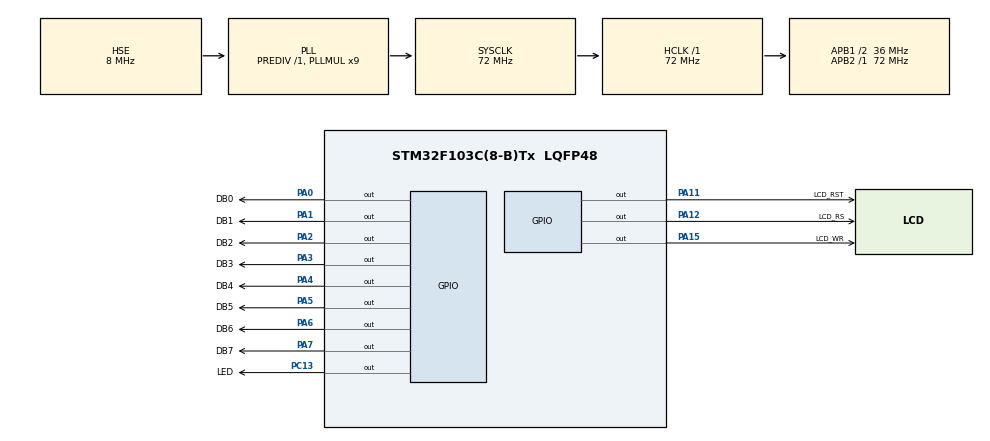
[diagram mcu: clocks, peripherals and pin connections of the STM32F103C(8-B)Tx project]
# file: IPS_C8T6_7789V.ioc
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Mcu.Family=STM32F1
Mcu.Name=STM32F103C(8-B)Tx
Mcu.Package=LQFP48
NVIC.PriorityGroup=NVIC_PRIORITYGROUP_4
PA0-WKUP.GPIO_Label=DB0
PA0-WKUP.GPIO_Speed=GPIO_SPEED_FREQ_HIGH
PA0-WKUP.Signal=GPIO_Output
PA1.GPIO_Label=DB1
PA1.GPIO_Speed=GPIO_SPEED_FREQ_HIGH
PA1.Signal=GPIO_Output
PA11.GPIO_Label=LCD_RST
PA11.GPIO_Speed=GPIO_SPEED_FREQ_HIGH
PA11.PinState=GPIO_PIN_RESET
PA11.Signal=GPIO_Output
PA12.GPIO_Label=LCD_RS
PA12.GPIO_Speed=GPIO_SPEED_FREQ_HIGH
PA12.Signal=GPIO_Output
PA13.Mode=Serial_Wire
PA13.Signal=SYS_JTMS-SWDIO
PA14.Mode=Serial_Wire
PA14.Signal=SYS_JTCK-SWCLK
PA15.GPIO_Label=LCD_WR
PA15.GPIO_Speed=GPIO_SPEED_FREQ_HIGH
PA15.Signal=GPIO_Output
PA2.GPIO_Label=DB2
PA2.GPIO_Speed=GPIO_SPEED_FREQ_HIGH
PA2.Signal=GPIO_Output
PA3.GPIO_Label=DB3
PA3.GPIO_Speed=GPIO_SPEED_FREQ_HIGH
PA3.Signal=GPIO_Output
PA4.GPIO_Label=DB4
PA4.GPIO_Speed=GPIO_SPEED_FREQ_HIGH
PA4.Signal=GPIO_Output
PA5.GPIO_Label=DB5
PA5.GPIO_Speed=GPIO_SPEED_FREQ_HIGH
PA5.Signal=GPIO_Output
PA6.GPIO_Label=DB6
PA6.GPIO_Speed=GPIO_SPEED_FREQ_HIGH
PA6.Signal=GPIO_Output
PA7.GPIO_Label=DB7
PA7.GPIO_Speed=GPIO_SPEED_FREQ_HIGH
PA7.Signal=GPIO_Output
PC13-TAMPER-RTC.GPIO_Label=LED
PC13-TAMPER-RTC.GPIO_Speed=GPIO_SPEED_FREQ_HIGH
PC13-TAMPER-RTC.Signal=GPIO_Output
PC14-OSC32_IN.Mode=LSE-External-Oscillator
PC14-OSC32_IN.Signal=RCC_OSC32_IN
PC15-OSC32_OUT.Mode=LSE-External-Oscillator
PC15-OSC32_OUT.Signal=RCC_OSC32_OUT
PD0-OSC_IN.Mode=HSE-External-Oscillator
PD0-OSC_IN.Signal=RCC_OSC_IN
PD1-OSC_OUT.Mode=HSE-External-Oscillator
PD1-OSC_OUT.Signal=RCC_OSC_OUT
ProjectManager.HeapSize=0x200
ProjectManager.StackSize=0x400
ProjectManager.TargetToolchain=SW4STM32
RCC.AHBFreq_Value=72000000
RCC.APB1CLKDivider=RCC_HCLK_DIV2
RCC.APB1Freq_Value=36000000
RCC.APB1TimFreq_Value=72000000
RCC.APB2Freq_Value=72000000
RCC.APB2TimFreq_Value=72000000
RCC.HCLKFreq_Value=72000000
RCC.PLLMUL=RCC_PLL_MUL9
RCC.PLLSourceVirtual=RCC_PLLSOURCE_HSE
RCC.SYSCLKFreq_VALUE=72000000
RCC.SYSCLKSource=RCC_SYSCLKSOURCE_PLLCLK
RCC.USBFreq_Value=72000000
board=custom

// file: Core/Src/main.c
/* USER CODE BEGIN Header */
/**
  ******************************************************************************
  * @file           : main.c
  * @brief          : Main program body
  ******************************************************************************
  * @attention
  *
  * Copyright (c) 2022 STMicroelectronics.
  * All rights reserved.
  *
  * This software is licensed under terms that can be found in the LICENSE file
  * in the root directory of this software component.
  * If no LICENSE file comes with this software, it is provided AS-IS.
  *
  ******************************************************************************
  */
/* USER CODE END Header */
#include "main.h"
#include "gpio.h"

/* USER CODE BEGIN Includes */
#include "LCD.h"
#include "ugui.h"
#include "IMG0.h"
#include "image.h"
/* USER CODE END Includes */

/* USER CODE BEGIN PV */
uint8_t MX_TRUE = 1;
/* USER CODE END PV */

void SystemClock_Config(void);

/* USER CODE BEGIN 0 */
UG_GUI gui;

#define MAX_OBJECTS        10
UG_WINDOW window_1;
UG_OBJECT obj_buff_wnd_1[MAX_OBJECTS];
UG_BUTTON button1_1;

//由于像素值不能为浮点数，因此以下算法假设仅将整数坐标作为输入。因此去除了首尾点的特殊操作
#define ipart_(X) ((int)(X))
#define round_(X) ((int)(((float)(X))+0.5f))
#define fpart_(X) (((float)(X))-(float)ipart_(X))
#define rfpart_(X) (1.0-fpart_(X))
#define swap_(a,b)    (a=(a)+(b),b=(a)-(b),a=(a)-(b))

/**
 * @brief 绘制虚拟带透明度像素点
 * @param x
 * @param y
 * @param brightness 0-1.0
 */
void setPixelAlpha(int x, int y, float brightness)
{
    uint32_t alpha_color =  GetAlphaColorRGB888(0x00ffffff,0x00000000,(uint8_t)(brightness*0xff));
    LCD_DrawPixel(x,y,RGB888ToRGB565(alpha_color));
}

int abs(int x )
{
    if (x < 0) return -x;
    else return x;
}

/**
 * @brief 绘制1宽度抗锯齿直线
 * @param x0
 * @param y0
 * @param x1
 * @param y1
 */
void lineAnti_Wu(int x0, int y0, int x1, int y1)
{
    int steep = abs(y1 - y0) > abs(x1 - x0);

    // swap the co-ordinates if slope > 1 or we
    // draw backwards
    if (steep)
    {
        swap_(x0, y0);
        swap_(x1, y1);
    }
    if (x0 > x1)
    {
        swap_(x0, x1);
        swap_(y0, y1);
    }

    //compute the slope
    float dx = x1 - x0;
    float dy = y1 - y0;
    float gradient = dy / dx;
    if (dx == 0.0)
        gradient = 1;

    int xpxl1 = x0;
    int xpxl2 = x1;
    float intersectY = y0;
    int  x;

    // main loop
    if (steep)
    {
        for (x = xpxl1; x <= xpxl2; x++)
        {
            setPixelAlpha(ipart_(intersectY), x, rfpart_(intersectY));
            setPixelAlpha(ipart_(intersectY) + 1, x,fpart_(intersectY));
            intersectY += gradient;
        }
    }
    else
    {
        for (x = xpxl1; x <= xpxl2; x++)
        {
            setPixelAlpha(x, ipart_(intersectY),rfpart_(intersectY));
            setPixelAlpha(x, ipart_(intersectY)+1,fpart_(intersectY));
            intersectY += gradient;
        }
    }
}

/**
 * @brief 绘制任意宽度抗锯齿直线
 * @param x0
 * @param y0
 * @param x1
 * @param y1
 * @param r
 */
void lineAnti_WuMulti(int x0, int y0, int x1, int y1, int r)
{
    int steep = abs(y1 - y0) > abs(x1 - x0);

    // swap the co-ordinates if slope > 1 or we
    // draw backwards
    if (steep)
    {
        swap_(x0, y0);
        swap_(x1, y1);
    }
    if (x0 > x1)
    {
        swap_(x0, x1);
        swap_(y0, y1);
    }

    //compute the slope
    float dx = x1 - x0;
    float dy = y1 - y0;
    float gradient = dy / dx;
    if (dx == 0.0)
        gradient = 1;

    int xpxl1 = x0;
    int xpxl2 = x1;
    float intersectY = y0;

    int i, x;

    // main loop
    if (steep)
    {
        for (x = xpxl1; x <= xpxl2; x++)
        {
            // pixel coverage is determined by fractional
            // part of y co-ordinate
            setPixelAlpha(ipart_(intersectY), x, rfpart_(intersectY));
            for (i = 1; i < r; i++)
            {
                LCD_DrawPixel(ipart_(intersectY) + i, x,0x0000);
            }
            setPixelAlpha(ipart_(intersectY) + r, x, fpart_(intersectY));
            intersectY += gradient;
        }
    }
    else
    {
        for (x = xpxl1; x <= xpxl2; x++)
        {
            setPixelAlpha(x, ipart_(intersectY), rfpart_(intersectY));
            for (i = 1; i < r; i++)
            {
                LCD_DrawPixel(x, ipart_(intersectY) + i,0x0000);
            }
            setPixelAlpha(x, ipart_(intersectY) + r, fpart_(intersectY));
            intersectY += gradient;
        }
    }
}

/**
 * @brief 添加画点驱动
 * @param x
 * @param y
 * @param c
 */
void Driver_DrawPixel(UG_S16 x, UG_S16 y, UG_COLOR c) {
    LCD_DrawPixel(x, y, c);
}
/**
 * @brief 添加画线驱动
 * @param x1
 * @param y1
 * @param x2
 * @param y2
 * @param c
 * @return
 */
UG_RESULT Driver_DrawLine(UG_S16 x1, UG_S16 y1, UG_S16 x2, UG_S16 y2, UG_COLOR c) {
    if (y1 == y2) {
        LCD_DrawLineVH(x1, y1, 1, x2 - x1 + 1, c);
    } else if (x1 == x2) {
        LCD_DrawLineVH(x1, y1, 0, y2 - y1 + 1, c);
    } else {
        return UG_RESULT_FAIL;
    }
    return UG_RESULT_OK;
}

/**
 * @brief 绘制矩形面积
 * @param x1
 * @param y1
 * @param x2
 * @param y2
 * @param c
 * @return
 */
UG_RESULT Driver_FillFrame(UG_S16 x1, UG_S16 y1, UG_S16 x2, UG_S16 y2, UG_COLOR c) {
    LCD_Address_Set(x1, y1, x2, y2);
    for (int y = y1; y <= y2; ++y) {
        for (int x = x1; x <= x2; ++x) {
            LCD_WRITE_DATA(c);
        }
    }
    return UG_RESULT_OK;
}

/**
 * @brief 绘制图片驱动
 * @param x
 * @param y
 * @param width
 * @param height
 * @param bmp
 * @return
 */
UG_RESULT Driver_DrawImage(UG_S16 x, UG_S16 y, UG_U16 width, UG_U16 height, UG_BMP *bmp) {
    uint16_t *p;
    uint16_t tmp;
    LCD_Address_Set(x, y, x + (bmp->width) - 1, y + (bmp->height) - 1);

    p = (UG_U16 *) bmp->p;
    for (int i = 0; i < width * height; ++i) {
        tmp = *p++;
        if ((bmp->bpp) == BMP_BPP_16) {
            LCD_WR_DATA16(tmp);
        } else if ((bmp->bpp) == BMP_BPP_8) {
            LCD_WR_DATA16(((uint16_t) (tmp << 8)) | (tmp >> 8));
        }
    }
    return UG_RESULT_OK;
}

/*
font model toos : PCtoLCD2002完美版
model : 阴码, 顺向, 逐行式, 十六进制, C51格式. 点阵16x16
*/

void window_1_callback(UG_MESSAGE *msg) {
    if (msg->type == MSG_TYPE_OBJECT) {
        if (msg->id == OBJ_TYPE_BUTTON) {
            switch (msg->sub_id) {
                case BTN_ID_0:

                    break;
            }
        }
    }
}

UG_IMAGE image_1;

/* USER CODE END 0 */

int main(void) {

    /* MCU Configuration--------------------------------------------------------*/

    /* Reset of all peripherals, Initializes the Flash interface and the Systick. */
    HAL_Init();

    /* Configure the system clock */
    SystemClock_Config();

    /* Initialize all configured peripherals */
    MX_GPIO_Init();
    /* USER CODE BEGIN 2 */

    Lcd_Init();

    /* 初始化UGUI */
    UG_Init(&gui, (void *) Driver_DrawPixel, 240, 240);

    /* 添加驱动 */
    UG_DriverRegister(DRIVER_FILL_FRAME, (void *) Driver_FillFrame);
    UG_DriverEnable(DRIVER_FILL_FRAME);

    UG_DriverRegister(DRIVER_DRAW_LINE, (void *) Driver_DrawLine);
    UG_DriverEnable(DRIVER_DRAW_LINE);

    UG_DriverRegister(DRIVER_DRAW_IMAGE, (void *) Driver_DrawImage);
    UG_DriverEnable(DRIVER_DRAW_IMAGE);

    UG_SelectGUI(&gui);

    UG_FontSelect(&FONT_12X20);

    UG_FillScreen(C_WHITE);/* 填充屏幕 */

    /* 创建窗口 */
    UG_WindowCreate(&window_1, obj_buff_wnd_1, MAX_OBJECTS, window_1_callback);
    UG_WindowSetStyle(&window_1, WND_STYLE_HIDE_TITLE);

    /* 创建按钮 */
    UG_ButtonCreate(&window_1, &button1_1, BTN_ID_0, 10, 10, 110, 60);
    UG_ButtonSetStyle(&window_1, BTN_ID_0, BTN_STYLE_TOGGLE_COLORS);
    UG_ButtonSetFont(&window_1, BTN_ID_0, &FONT_12X20);
    UG_ButtonSetBackColor(&window_1, BTN_ID_0, C_WHITE);
    UG_ButtonSetText(&window_1, BTN_ID_0, "Button");

    /* 创建 */
    UG_TEXTBOX textbox2_1;
    UG_TextboxCreate(&window_1, &textbox2_1, TXB_ID_0, 10, 70, UG_WindowGetInnerWidth(&window_1) - 10, 100);
    UG_TextboxSetFont(&window_1, TXB_ID_0, &FONT_16X26);
    UG_TextboxSetText(&window_1, TXB_ID_0, "礕UI v0.3");
    UG_TextboxSetAlignment(&window_1, TXB_ID_0, ALIGN_TOP_CENTER);

    /* 创建图片控件 */
    UG_ImageCreate(&window_1, &image_1, IMG_ID_0, 50, 50, 150, 150);
    UG_ImageSetBMP(&window_1, IMG_ID_0, &img0);

    UG_WindowShow(&window_1);

    /* 放在任务里或者定时器里定时刷新 */
    UG_Update();

    /* USER CODE END 2 */

    /* Infinite loop */
    /* USER CODE BEGIN WHILE */

//    for (int i = 0; i < 240; i+=10) {
//        lineAnti_Wu(0,239-i,239,i);
//    }

//    lineAnti_WuMulti(0,140,239,100,5);
//    lineAnti_WuMulti(140,0,100,239,8);
//    lineAnti_WuMulti(50,86,123,210,3);

    while (MX_TRUE) {
        HAL_Delay(1);
        //UG_Update();
        /* USER CODE END WHILE */

    }
}

void SystemClock_Config(void) {
    RCC_OscInitTypeDef RCC_OscInitStruct = {0};
    RCC_ClkInitTypeDef RCC_ClkInitStruct = {0};

    /** Initializes the RCC Oscillators according to the specified parameters
    * in the RCC_OscInitTypeDef structure.
    */
    RCC_OscInitStruct.OscillatorType = RCC_OSCILLATORTYPE_HSE;
    RCC_OscInitStruct.HSEState = RCC_HSE_ON;
    RCC_OscInitStruct.HSEPredivValue = RCC_HSE_PREDIV_DIV1;
    RCC_OscInitStruct.HSIState = RCC_HSI_ON;
    RCC_OscInitStruct.PLL.PLLState = RCC_PLL_ON;
    RCC_OscInitStruct.PLL.PLLSource = RCC_PLLSOURCE_HSE;
    RCC_OscInitStruct.PLL.PLLMUL = RCC_PLL_MUL9;
    if (HAL_RCC_OscConfig(&RCC_OscInitStruct) != HAL_OK) {
        Error_Handler();
    }
    /** Initializes the CPU, AHB and APB buses clocks
    */
    RCC_ClkInitStruct.ClockType = RCC_CLOCKTYPE_HCLK | RCC_CLOCKTYPE_SYSCLK
                                  | RCC_CLOCKTYPE_PCLK1 | RCC_CLOCKTYPE_PCLK2;
    RCC_ClkInitStruct.SYSCLKSource = RCC_SYSCLKSOURCE_PLLCLK;
    RCC_ClkInitStruct.AHBCLKDivider = RCC_SYSCLK_DIV1;
    RCC_ClkInitStruct.APB1CLKDivider = RCC_HCLK_DIV2;
    RCC_ClkInitStruct.APB2CLKDivider = RCC_HCLK_DIV1;

    if (HAL_RCC_ClockConfig(&RCC_ClkInitStruct, FLASH_LATENCY_2) != HAL_OK) {
        Error_Handler();
    }
}

void Error_Handler(void) {
    __disable_irq();
    while (1) {
    }
}
